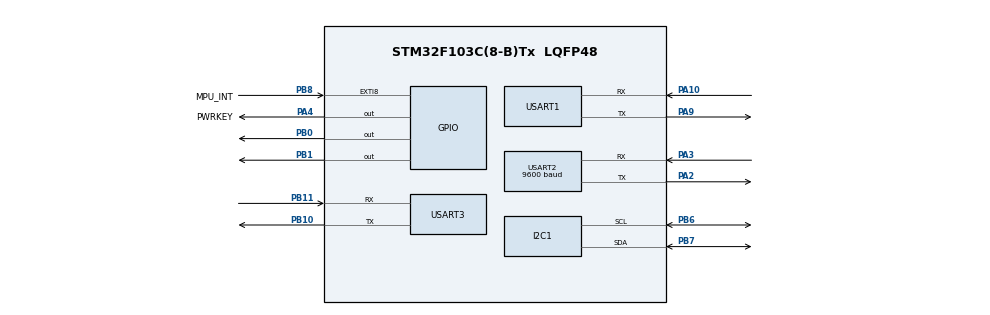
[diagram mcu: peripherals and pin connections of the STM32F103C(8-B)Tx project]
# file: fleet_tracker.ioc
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Dma.Request0=USART1_RX
Dma.Request1=USART2_RX
Dma.USART1_RX.0.Direction=DMA_PERIPH_TO_MEMORY
Dma.USART1_RX.0.Instance=DMA1_Channel5
Dma.USART1_RX.0.MemDataAlignment=DMA_MDATAALIGN_BYTE
Dma.USART1_RX.0.MemInc=DMA_MINC_ENABLE
Dma.USART1_RX.0.Mode=DMA_NORMAL
Dma.USART1_RX.0.PeriphDataAlignment=DMA_PDATAALIGN_BYTE
Dma.USART1_RX.0.PeriphInc=DMA_PINC_DISABLE
Dma.USART1_RX.0.Priority=DMA_PRIORITY_LOW
Dma.USART2_RX.1.Direction=DMA_PERIPH_TO_MEMORY
Dma.USART2_RX.1.Instance=DMA1_Channel6
Dma.USART2_RX.1.MemDataAlignment=DMA_MDATAALIGN_BYTE
Dma.USART2_RX.1.MemInc=DMA_MINC_ENABLE
Dma.USART2_RX.1.Mode=DMA_NORMAL
Dma.USART2_RX.1.PeriphDataAlignment=DMA_PDATAALIGN_BYTE
Dma.USART2_RX.1.PeriphInc=DMA_PINC_DISABLE
Dma.USART2_RX.1.Priority=DMA_PRIORITY_LOW
Mcu.Family=STM32F1
Mcu.Name=STM32F103C(8-B)Tx
Mcu.Package=LQFP48
NVIC.DMA1_Channel5_IRQn=true\:0\:0\:false\:false\:true\:false\:true\:true
NVIC.DMA1_Channel6_IRQn=true\:0\:0\:false\:false\:true\:false\:true\:true
NVIC.EXTI9_5_IRQn=true\:0\:0\:false\:false\:true\:true\:true\:true
NVIC.PriorityGroup=NVIC_PRIORITYGROUP_4
NVIC.USART1_IRQn=true\:2\:0\:true\:false\:true\:true\:true\:true
NVIC.USART2_IRQn=true\:1\:0\:true\:false\:true\:true\:true\:true
PA0-WKUP.Mode=SYS_WakeUp0
PA0-WKUP.Signal=SYS_WKUP
PA10.Mode=Asynchronous
PA10.Signal=USART1_RX
PA13.Mode=Serial_Wire
PA13.Signal=SYS_JTMS-SWDIO
PA14.Mode=Serial_Wire
PA14.Signal=SYS_JTCK-SWCLK
PA2.Mode=Asynchronous
PA2.Signal=USART2_TX
PA3.Mode=Asynchronous
PA3.Signal=USART2_RX
PA4.GPIO_Label=PWRKEY
PA4.Signal=GPIO_Output
PA9.Mode=Asynchronous
PA9.Signal=USART1_TX
PB0.Signal=GPIO_Output
PB1.Signal=GPIO_Output
PB10.Mode=Asynchronous
PB10.Signal=USART3_TX
PB11.Mode=Asynchronous
PB11.Signal=USART3_RX
PB6.Mode=I2C
PB6.Signal=I2C1_SCL
PB7.Mode=I2C
PB7.Signal=I2C1_SDA
PB8.GPIO_Label=MPU_INT
PB8.GPIO_ModeDefaultEXTI=GPIO_MODE_IT_RISING
PB8.GPIO_PuPd=GPIO_PULLDOWN
PB8.Signal=GPXTI8
PD0-OSC_IN.Mode=HSE-External-Oscillator
PD0-OSC_IN.Signal=RCC_OSC_IN
PD1-OSC_OUT.Mode=HSE-External-Oscillator
PD1-OSC_OUT.Signal=RCC_OSC_OUT
ProjectManager.HeapSize=0x200
ProjectManager.StackSize=0x400
ProjectManager.TargetToolchain=CMake
RCC.APB1Freq_Value=8000000
RCC.APB2Freq_Value=8000000
RCC.PLLSourceVirtual=RCC_PLLSOURCE_HSE
RCC.SYSCLKSource=RCC_SYSCLKSOURCE_HSE
RCC.USBFreq_Value=16000000
USART1.VirtualMode=VM_ASYNC
USART2.BaudRate=9600
USART2.VirtualMode=VM_ASYNC
USART3.VirtualMode=VM_ASYNC
board=custom

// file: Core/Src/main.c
/* USER CODE BEGIN Header */
/**
  ******************************************************************************
  * @file           : main.c
  * @brief          : Main program body — System orchestration for GPS Tracking Device
  ******************************************************************************
  * @attention
  *
  * Copyright (c) 2026 STMicroelectronics.
  * All rights reserved.
  *
  * This software is licensed under terms that can be found in the LICENSE file
  * in the root directory of this software component.
  * If no LICENSE file comes with this software, it is provided AS-IS.
  *
  ******************************************************************************
  *
  * ARCHITECTURE OVERVIEW
  * =====================
  * This file is the TOP-LEVEL ORCHESTRATOR. The three bottom-level state
  * machines (GPS.c, MPU6050.c, SIM7670.c) encapsulate their own hardware
  * and state. They communicate UPWARD only, via registered callbacks.
  * They DO NOT communicate with each other directly.
  *
  * Cross-module interactions flow through this file:
  *   GPS speed > 5 km/h  → calls MPU6050_Reset_Stationary_Timer()
  *   IMU motion detected  → sets sys_state = SYS_WAKE_UP (handled in main loop)
  *   IMU stationary       → sets sys_state = SYS_SLEEP
  *   GPS fix acquired     → sets sys_state = SYS_ACTIVE_TRANSIT
  *   SIM TX complete      → triggers MCU stop sequence
  *
  * Interrupt Priority (from design spec):
  *   Highest: MPU-6050 INT (EXTI) — wakes MCU from Stop Mode
  *   Medium:  NEO-6M UART DMA Idle Line — wakes from __WFI() to parse NMEA
  *   Lowest:  A7670C UART RX — signals URCs in AWAITING_RESPONSE state
  *
  ******************************************************************************
  */
/* USER CODE END Header */
#include "main.h"
#include "dma.h"
#include "i2c.h"
#include "usart.h"
#include "gpio.h"

/* USER CODE BEGIN Includes */
#include "MPU6050.h"
#include "SIM7670.h"
#include "GPS.h"
#include <stdio.h>
#include <stdlib.h>
#include <string.h>
#include <stdbool.h>
/* USER CODE END Includes */

/* USER CODE BEGIN PV */

/** Top-level system state — tracks the overall operating phase */
SYS_State_t sys_state = SYS_POWER_OFF;

/**
 * Timestamp (HAL_GetTick()) of the last 60-second transmission.
 * Used in SYS_ACTIVE_TRANSIT to fire periodic location uploads.
 */
static uint32_t active_tx_timer = 0;

/** 60-second data upload interval (Task 5, design spec Sequence 2) */
#define TX_INTERVAL_MS  60000UL

/**
 * GPS FIFO for 10-second batching.
 */
#define FIFO_MAX_SIZE 6
static GPS_Data_t gps_fifo[FIFO_MAX_SIZE];
static uint8_t fifo_count = 0;
static uint32_t active_fifo_timer = 0;
#define FIFO_INTERVAL_MS 10000UL

/**
 * Flag set by On_SIM_TransmitComplete when we need to enter Stop Mode.
 * The actual Stop Mode entry is deferred to the main loop (never from a callback)
 * to ensure clean stack state and pending interrupt handling.
 */
static volatile bool enter_stop_mode_pending = false;

/* Forward declarations of callbacks (defined in USER CODE 0 below) */
static void On_IMU_MotionDetected(void);
static void On_IMU_StationaryDetected(void);
static void On_GPS_ValidFix(void);
static void On_GPS_SpeedExceeded(void);
static void On_SIM_TransmitComplete(bool success);

/* USER CODE END PV */

void SystemClock_Config(void);
/* USER CODE BEGIN PFP */

/* ============================================================================
 * HAL Callbacks — called from ISR context; MUST remain short
 * ============================================================================ */

/**
 * @brief EXTI interrupt callback (HAL override).
 *
 * Called when any configured EXTI line fires. Routes the MPU-6050 INT event
 * to MPU6050_Trigger_Wakeup() which sets a flag consumed by MPU6050_Process().
 *
 * NOTE: No I2C reads here — ISR context must be minimal. The INT_STATUS read
 * to clear the hardware latch happens inside MPU6050_Process() after validation.
 *
 * @param GPIO_Pin  The EXTI pin that triggered (bitmask).
 */
void HAL_GPIO_EXTI_Callback(uint16_t GPIO_Pin) {
    if (GPIO_Pin == MPU_INT_Pin) {
        /* MPU-6050 motion threshold exceeded. Signal the process loop. */
        MPU6050_Trigger_Wakeup();
    }
}

/**
 * @brief UART RX event callback for DMA + idle-line reception (HAL override).
 *
 * Called when either:
 *   (a) DMA buffer is full, or
 *   (b) UART idle line detected (end of a burst, e.g. end of NMEA sentence).
 *
 * Routes to the correct module by passing the UART handle. Each module
 * internally checks huart->Instance to confirm it owns that peripheral.
 *
 * The 'Size' parameter is the actual byte count received — critical for
 * correct null-termination in the GPS parser.
 *
 * @param huart  The UART that fired the event.
 * @param Size   Number of bytes written to the DMA buffer.
 */
void HAL_UARTEx_RxEventCallback(UART_HandleTypeDef *huart, uint16_t Size) {
    GPS_UART_IdleCallback(huart, Size);   /* Routes to GPS module if huart == GPS UART  */
    SIM7670_UART_RxCpltCallback(huart, Size);   /* Routes to SIM module if huart == SIM UART  */
}

/* USER CODE END PFP */

/* USER CODE BEGIN 0 */

/* ============================================================================
 * System-level Callbacks (registered with bottom-level modules)
 * ============================================================================
 * These functions are called by the module state machines when significant
 * hardware events occur. They update the top-level sys_state or cross-module
 * state, but NEVER block or call Stop Mode directly.
 * ============================================================================ */

/**
 * @brief Called by MPU6050_Process() when movement has been validated.
 *
 * Transitions from sleep/off states to SYS_WAKE_UP, which the main loop then
 * handles by waking GPS and SIM.
 */
static void On_IMU_MotionDetected(void) {
    if (sys_state == SYS_SLEEP || sys_state == SYS_POWER_OFF) {
        sys_state = SYS_WAKE_UP;
        DEBUG_PRINT("SYS: motion->WAKE \r\n");
    }
}

/**
 * @brief Called by MPU6050_Process() when 5-minute stationary timer expires.
 *
 * Transitions from active tracking to sleep preparation.
 */
static void On_IMU_StationaryDetected(void) {
    if (sys_state == SYS_ACTIVE_TRANSIT) {
        sys_state = SYS_SLEEP;
        DEBUG_PRINT("SYS: 5min stationary \r\n");
    }
}

/**
 * @brief Called by GPS_Process() when the first valid $GPRMC fix is acquired.
 *
 * During cold boot, advances the system from waiting for baseline to active
 * tracking. Starts the 60-second TX timer.
 */
static void On_GPS_ValidFix(void) {
    if (sys_state == SYS_COLD_BOOT) {
        DEBUG_PRINT("SYS: GPS fix \r\n");
        sys_state         = SYS_ACTIVE_TRANSIT;
        active_tx_timer   = HAL_GetTick();
        active_fifo_timer = HAL_GetTick();
        fifo_count        = 0;
        /* Start the stationary timer.  Normally the IMU interrupt starts it, but
         * on cold boot we transition directly here without going through WAKE_UP. */
        MPU6050_ForceActive();
    }
}

/**
 * @brief Called by GPS_Process() when GPS speed exceeds 5 km/h.
 *
 * Resets the IMU's 5-minute stationary timer to prevent false sleep entry
 * during smooth highway driving (Schmitt-trigger hysteresis, Task 4.1).
 */
static void On_GPS_SpeedExceeded(void) {
    MPU6050_Reset_Stationary_Timer();
}

/**
 * @brief Called by SIM7670_Process() when an HTTP transaction completes or fails.
 *
 * If we were in SYS_POWER_OFF (final TX after stationary), sets the
 * enter_stop_mode_pending flag. The actual Stop Mode entry happens in the
 * main loop to ensure clean stack state.
 *
 * @param success  true if HTTP 200 received, false on error or timeout.
 */
static void On_SIM_TransmitComplete(bool success) {
    if (!success) {
        DEBUG_PRINT("SYS: SIM TX fail\r\n");
        /* TODO: Implement retry logic here if needed.
         *       For now, on failure during POWER_OFF flow, we still proceed
         *       with shutting down to avoid being stuck in an active state. */
    }

    /* If we were preparing to sleep (sys_state was set to SYS_POWER_OFF in
     * the SYS_SLEEP case), trigger the shutdown sequence. */
    if (sys_state == SYS_POWER_OFF) {
        DEBUG_PRINT("SYS: final TX done \r\n");
        /* Set flag; actual Stop Mode entry deferred to main loop (not ISR/callback) */
        enter_stop_mode_pending = true;
    }
}

/* USER CODE END 0 */

int main(void)
{

  /* MCU Configuration--------------------------------------------------------*/

  /* Reset of all peripherals, Initializes the Flash interface and the Systick. */
  HAL_Init();

  /* Configure the system clock */
  SystemClock_Config();

  /* Initialize all configured peripherals */
  MX_GPIO_Init();
  MX_DMA_Init();
  MX_I2C1_Init();
  MX_USART1_UART_Init();
  MX_USART2_UART_Init();
  MX_USART3_UART_Init();
  /* USER CODE BEGIN 2 */
  DBG_Init(&huart3);
  DBG_Print("SYS: boot\r\n");
  /* ========================================================================
   * Task 1: Cold Boot / System Init
   * ========================================================================
   * Order matters:
   *   1. IMU must be ready first (to detect motion before anything else).
   *   2. GPS initialized to start acquiring satellite lock in parallel.
   *   3. SIM powered on last (highest power draw, needs GPS baseline first).
   * ======================================================================== */
  sys_state = SYS_COLD_BOOT;

  /* 1.3 — MPU-6050 Setup */
  MPU6050_Init(&hi2c1);
  MPU6050_Calibrate(&hi2c1);
  MPU6050_Config_Interrupt(&hi2c1, 20, 1);
  MPU6050_RegisterCallbacks(On_IMU_MotionDetected, On_IMU_StationaryDetected);

  /* 1.4 — NEO-6M GPS: power on and wait for baseline in ACQUIRING_BASELINE state */
  GPS_Init(&huart2);
  GPS_RegisterCallbacks(On_GPS_ValidFix, On_GPS_SpeedExceeded);
  GPS_SetState(GPS_ACQUIRING_BASELINE);

  /* 1.5 — A7670C Cellular: boot and configure APN asynchronously
   * The SIM state machine will sequence through BOOTING → NETWORK_CONFIG →
   * LIGHT_SLEEP over the next ~11.2 seconds without blocking. */
  SIM7670_Init(&huart1);
  SIM7670_RegisterCallback(On_SIM_TransmitComplete);
  SIM7670_PowerOn();

  /* USER CODE END 2 */

  /* Infinite loop */
  /* USER CODE BEGIN WHILE */
  while (1)
  {
      /* ====================================================================
       * Bottom-level state machine tick — process each module every iteration.
       * These are non-blocking and return quickly in most states.
       * ==================================================================== */
      MPU6050_Process(&hi2c1);
      GPS_Process();
      SIM7670_Process();

      /* ====================================================================
       * Top-level system orchestration — acts on state transitions signalled
       * by module callbacks. Each case should set sys_state and call module
       * functions as needed, then break.
       * ==================================================================== */
      switch (sys_state) {

          /* ---------------------------------------------------------------- */
          case SYS_COLD_BOOT:
          /* ---------------------------------------------------------------- */
              /* Waiting for GPS baseline fix. On_GPS_ValidFix() will advance
               * sys_state to SYS_ACTIVE_TRANSIT when the first valid fix arrives.
               * SIM boots and reaches LIGHT_SLEEP autonomously in the background. */
              __WFI();
              break;

          /* ---------------------------------------------------------------- */
          case SYS_WAKE_UP:
          /* ---------------------------------------------------------------- */
              /* IMU validated motion (On_IMU_MotionDetected set this state).
               * Wake GPS and SIM, then transition to active tracking.
               *
               * Design spec Task 2 sequence:
               *   T=0ms: EXTI fired, MPU woke MCU
               *   T=0ms: Wake GPS (done here)
               *   T=0ms: SIM boot pulse was already sent at T=0ms in spec;
               *           if SIM was in POWER_OFF, call PowerOn().
               *           if SIM was in LIGHT_SLEEP, call WakeFromSleep() +
               *           then Send_Data() will be triggered on 60s timer. */
              GPS_SetState(GPS_CONTINUOUS_TRACKING);

              /* Wake SIM: if it was powered off (came from Stop Mode), power it on.
               * If it was in light sleep (e.g. re-wake within same session), just wake. */
              if (SIM7670_GetState() == SIM_POWER_OFF) {
                  SIM7670_PowerOn(); /* Will boot for 11.2 s non-blocking */
              } else if (SIM7670_GetState() == SIM_LIGHT_SLEEP) {
                  /* Don't call WakeFromSleep here — it will be called by
                   * SIM7670_Send_Data() when the 60s timer fires below. */
              }

              sys_state         = SYS_ACTIVE_TRANSIT;
              active_tx_timer   = HAL_GetTick();
              active_fifo_timer = HAL_GetTick();
              fifo_count        = 0;
              /* IMU entered ACTIVE_HYSTERESIS via the interrupt path so the
               * stationary timer is already running; ForceActive is a no-op here
               * but guards against edge cases where state was lost. */
              MPU6050_ForceActive();
              DEBUG_PRINT("SYS: wake->ACTIVE \r\n");
              break;

          /* ---------------------------------------------------------------- */
          case SYS_ACTIVE_TRANSIT:
          /* ---------------------------------------------------------------- */
              /* Non-blocking 60-second location upload timer (Task 5 / Sequence 2).
               *
               * The MCU spends most of this state in __WFI() light sleep between
               * NMEA sentence parses (NEO-6M fires idle-line ISR every ~1s).
               * The SIM is in LIGHT_SLEEP between transmissions. */

              if ((HAL_GetTick() - active_fifo_timer) >= FIFO_INTERVAL_MS) {
                  active_fifo_timer = HAL_GetTick();
                  GPS_Data_t *gps_data = GPS_GetLatestData();
                  if (gps_data->has_fix) {
                      if (fifo_count < FIFO_MAX_SIZE) {
                          gps_fifo[fifo_count] = *gps_data;
                          fifo_count++;
                          DEBUG_PRINT("GPS: buf %d\r\n", fifo_count);
                      }
                  }
              }

              if ((HAL_GetTick() - active_tx_timer) >= TX_INTERVAL_MS) {
                  active_tx_timer = HAL_GetTick(); /* Reset 60s timer */

                  if (fifo_count > 0) {
                      /* Send the most recent fix to ThingSpeak (single-point API).
                       * Convert NMEA ddmm.mmmm format to decimal degrees. */
                      GPS_Data_t *p = &gps_fifo[fifo_count - 1];
                      float lat_n = atof(p->latitude);
                      int   la_d  = (int)(lat_n / 100);
                      float lat   = (float)la_d + (lat_n - (float)(la_d * 100)) / 60.0f;
                      if (p->lat_direction == 'S') lat = -lat;

                      float lon_n = atof(p->longitude);
                      int   lo_d  = (int)(lon_n / 100);
                      float lon   = (float)lo_d + (lon_n - (float)(lo_d * 100)) / 60.0f;
                      if (p->lon_direction == 'W') lon = -lon;

                      char payload[80];
                      snprintf(payload, sizeof(payload),
                               "field1=%.5f&field2=%.5f&field3=%.1f",
                               lat, lon, p->speed_kmh);

                      DEBUG_PRINT("SYS: TX %.5f,%.5f\r\n", lat, lon);
                      SIM7670_Send_Data(payload);
                      fifo_count = 0;
                  } else {
                      DEBUG_PRINT("SYS: TX skip \r\n");
                  }
              }

              /* Light sleep between NMEA parses (woken by UART idle line ISR every ~1s).
               * __WFI() here is safe: SysTick, UART DMA, and EXTI all still fire. */
              __WFI();
              break;

          /* ---------------------------------------------------------------- */
          case SYS_SLEEP:
          /* ---------------------------------------------------------------- */
              /* 5-min stationary timer expired (On_IMU_StationaryDetected set this).
               * Design spec Task 6: send final location, then power everything down.
               *
               * We set sys_state to SYS_POWER_OFF BEFORE calling Send_Data().
               * This prevents re-entering this block on the next iteration while the
               * SIM is executing the HTTP transaction. On_SIM_TransmitComplete() will
               * see sys_state == SYS_POWER_OFF and set enter_stop_mode_pending. */
              {
                  DEBUG_PRINT("SYS: final TX\r\n");
                  sys_state = SYS_POWER_OFF; /* Guard before TX to prevent re-entry */

                  GPS_Data_t *gps_data = GPS_GetLatestData();
                  if (gps_data->has_fix && fifo_count < FIFO_MAX_SIZE) {
                      gps_fifo[fifo_count] = *gps_data;
                      fifo_count++;
                  }

                  if (fifo_count > 0) {
                      GPS_Data_t *p = &gps_fifo[fifo_count - 1];
                      float lat_n = atof(p->latitude);
                      int   la_d  = (int)(lat_n / 100);
                      float lat   = (float)la_d + (lat_n - (float)(la_d * 100)) / 60.0f;
                      if (p->lat_direction == 'S') lat = -lat;

                      float lon_n = atof(p->longitude);
                      int   lo_d  = (int)(lon_n / 100);
                      float lon   = (float)lo_d + (lon_n - (float)(lo_d * 100)) / 60.0f;
                      if (p->lon_direction == 'W') lon = -lon;

                      char payload[80];
                      snprintf(payload, sizeof(payload),
                               "field1=%.5f&field2=%.5f&field3=%.1f",
                               lat, lon, p->speed_kmh);
                      SIM7670_Send_Data(payload);
                      fifo_count = 0;
                  } else {
                      /* If somehow there's no data to send, go straight to sleep */
                      enter_stop_mode_pending = true;
                  }
              }
              break;

          /* ---------------------------------------------------------------- */
          case SYS_POWER_OFF:
          /* ---------------------------------------------------------------- */
              /* Either:
               *   (a) Waiting for the final SIM TX to complete (enter_stop_mode_pending = false),
               *   (b) Stop Mode entry was triggered (enter_stop_mode_pending = true), or
               *   (c) Already returned from Stop Mode after a wake-up.
               *
               * Stop Mode entry is done HERE (main loop body) rather than in the
               * callback, to ensure a clean stack and proper pending-interrupt handling. */

              if (enter_stop_mode_pending) {
                  enter_stop_mode_pending = false;

                  DEBUG_PRINT("SYS: shutdown\r\n");

                  /* Task 6.4: Send GPS to Power Save Mode */
                  GPS_SetState(GPS_POWER_SAVE);

                  /* Task 6.3: Power off cellular module (2.5 s PWRKEY pulse).
                   * NOTE: SIM7670_PowerOff() currently contains a stub for the GPIO.
                   * Once GPIO is wired, this will physically power down the modem.
                   * After the pulse, Toff(uart) = 1.9 s must elapse before Stop Mode. */
                  SIM7670_PowerOff();

                  /* Wait for modem UART to fully go silent (Toff(uart) = 1.9 s).
                   * HAL_Delay here is acceptable because:
                   *   - We are about to enter Stop Mode anyway.
                   *   - Only EXTI (MPU wake) would abort this, and EXTI is still active.
                   *   - If MPU fires during this delay, wakeup_triggered will be set
                   *     and the state machine will handle it after Stop Mode returns. */
                  HAL_Delay(2000);

                  /* Task 6.2: Clear MPU INT latch and re-arm EXTI.
                   * This must happen AFTER the I2C peripherals are still active
                   * (before Stop Mode which freezes the bus clocks). */
                  MPU6050_Clear_Interrupt(&hi2c1);

                  /* Configure MPU for high-threshold sleep monitoring
                   * (was lowered to driving threshold in ACTIVE_HYSTERESIS). */
                  MPU6050_Config_Interrupt(&hi2c1, 20, 1);

                  /* Task 6.5: Enter Stop Mode.
                   * PWR_MAINREGULATOR_ON: keeps main voltage regulator on for faster wake.
                   * PWR_STOPENTRY_WFI:    wake on any interrupt (EXTI for MPU-6050 INT).
                   *
                   * The system will BLOCK here until an interrupt fires.
                   * The MPU-6050 INT pin (EXTI) will wake the MCU when motion is detected.
                   * HSI is used (not PLL), so no PLL restart is needed after Stop Mode.
                   *
                   * TODO: Consider PWR_LOWPOWERREGULATOR_ON for lower Stop Mode current
                   *       (~14 µA vs ~20 µA) if 5.4 µs extra wake latency is acceptable.
                   */
                  DEBUG_PRINT("SYS: stop\r\n");

                  /* Abort UART DMA on both UARTs: idle-line events from the GPS going
                   * into backup mode or SIM powering off can leave a pending DMA
                   * interrupt flag that wakes WFI instantly. */
                  HAL_UART_AbortReceive(&huart1); /* SIM */
                  HAL_UART_AbortReceive(&huart2); /* GPS */

                  /* SysTick fires every 1 ms and is the most common spurious WFI wakeup.
                   * Suspend it here; HAL_Delay() is not used after this point. */
                  HAL_SuspendTick();

                  HAL_PWR_EnterSTOPMode(PWR_MAINREGULATOR_ON, PWR_STOPENTRY_WFI);

                  /* ---- EXECUTION RESUMES HERE AFTER MPU-6050 EXTI WAKE ---- */

                  HAL_ResumeTick();   /* Re-enable SysTick for HAL_GetTick() */
                  SystemClock_Config();

                  DEBUG_PRINT("SYS: woke\r\n");

                  /* On_IMU_MotionDetected will have set sys_state = SYS_WAKE_UP
                   * via the EXTI → MPU6050_Trigger_Wakeup() → MPU6050_Process() path.
                   * The main loop will handle SYS_WAKE_UP on the next iteration. */
              }

              /* While waiting for final TX (enter_stop_mode_pending still false),
               * light sleep to save power. SIM7670_Process() will advance the HTTP
               * state machine when woken by UART idle-line interrupt. */
              __WFI();
              break;
      }
    /* USER CODE END WHILE */

  }
}

void SystemClock_Config(void)
{
  RCC_OscInitTypeDef RCC_OscInitStruct = {0};
  RCC_ClkInitTypeDef RCC_ClkInitStruct = {0};

  /** Initializes the RCC Oscillators according to the specified parameters
  * in the RCC_OscInitTypeDef structure.
  */
  RCC_OscInitStruct.OscillatorType = RCC_OSCILLATORTYPE_HSE;
  RCC_OscInitStruct.HSEState = RCC_HSE_ON;
  RCC_OscInitStruct.PLL.PLLState = RCC_PLL_NONE;
  if (HAL_RCC_OscConfig(&RCC_OscInitStruct) != HAL_OK)
  {
    Error_Handler();
  }

  /** Initializes the CPU, AHB and APB buses clocks
  */
  RCC_ClkInitStruct.ClockType = RCC_CLOCKTYPE_HCLK|RCC_CLOCKTYPE_SYSCLK
                              |RCC_CLOCKTYPE_PCLK1|RCC_CLOCKTYPE_PCLK2;
  RCC_ClkInitStruct.SYSCLKSource = RCC_SYSCLKSOURCE_HSE;
  RCC_ClkInitStruct.AHBCLKDivider = RCC_SYSCLK_DIV1;
  RCC_ClkInitStruct.APB1CLKDivider = RCC_HCLK_DIV1;
  RCC_ClkInitStruct.APB2CLKDivider = RCC_HCLK_DIV1;

  if (HAL_RCC_ClockConfig(&RCC_ClkInitStruct, FLASH_LATENCY_0) != HAL_OK)
  {
    Error_Handler();
  }
}

void Error_Handler(void)
{
  __disable_irq();
  while (1)
  {
  }
}
#ifdef USE_FULL_ASSERT
/**
  * @brief  Reports the name of the source file and the source line number
  *         where the assert_param error has occurred.
  * @param  file: pointer to the source file name
  * @param  line: assert_param error line source number
  * @retval None
  */
void assert_failed(uint8_t *file, uint32_t line)
{
  /* USER CODE BEGIN 6 */
  /* User can add his own implementation to report the file name and line number,
     ex: printf("Wrong parameters value: file %s on line %d\r\n", file, line) */
  DEBUG_PRINT("ASSERT FAIL: %s line %lu\r\n", file, (unsigned long)line);
  /* USER CODE END 6 */
}
#endif /* USE_FULL_ASSERT */
